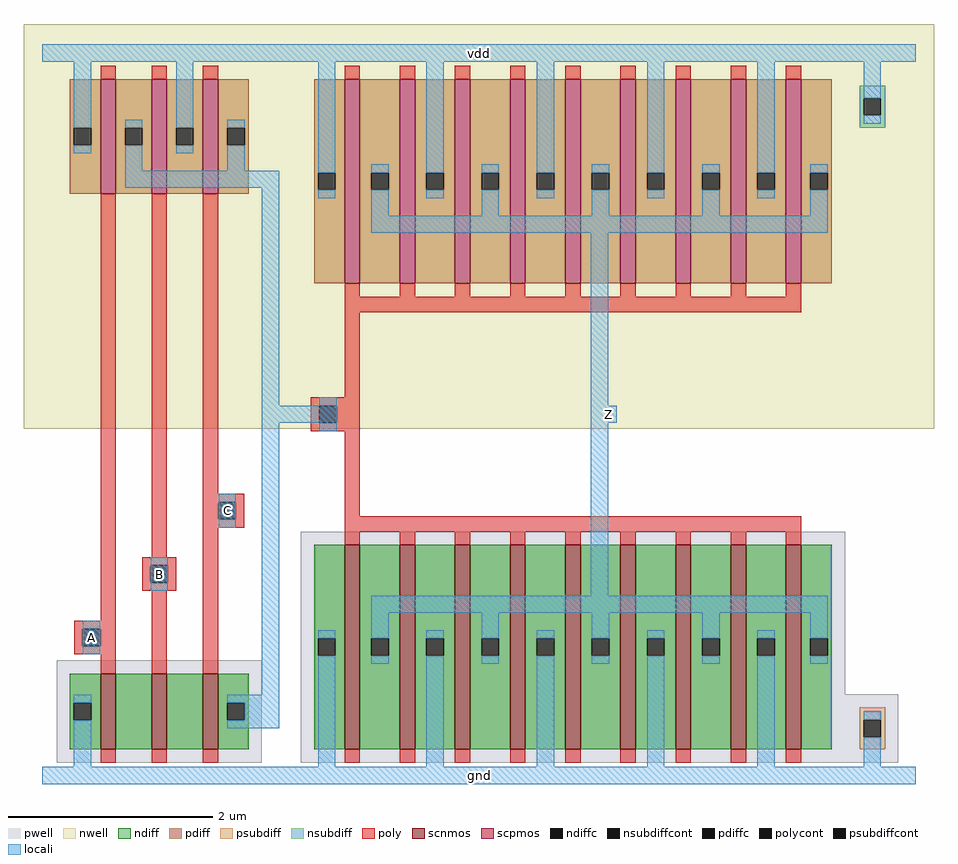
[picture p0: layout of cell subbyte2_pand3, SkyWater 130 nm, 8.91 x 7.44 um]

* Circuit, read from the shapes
.subckt subbyte2_pand3 Z A B C gnd vdd
XM1 n1 A gnd gnd sky130_fd_pr__nfet_01v8 w=0.74 l=0.15
XM2 n2 B n1 gnd sky130_fd_pr__nfet_01v8 w=0.74 l=0.15
XM3 subbyte2_pdriver_3_0/A C n2 gnd sky130_fd_pr__nfet_01v8 w=0.74 l=0.15
XM4 Z subbyte2_pdriver_3_0/A gnd gnd sky130_fd_pr__nfet_01v8 w=2 l=0.15 m=9
XM5 subbyte2_pdriver_3_0/A A vdd vdd sky130_fd_pr__pfet_01v8 w=1.12 l=0.15
XM6 vdd B subbyte2_pdriver_3_0/A vdd sky130_fd_pr__pfet_01v8 w=1.12 l=0.15
XM7 subbyte2_pdriver_3_0/A C vdd vdd sky130_fd_pr__pfet_01v8 w=1.12 l=0.15
XM8 Z subbyte2_pdriver_3_0/A vdd vdd sky130_fd_pr__pfet_01v8 w=2 l=0.15 m=9
.ends

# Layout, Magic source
magic
tech sky130A
magscale 1 2
<< locali >>
rect 0 1397 1710 1431
rect 430 724 464 1167
rect 430 690 559 724
rect 1091 690 1125 724
rect 345 485 379 551
rect 212 361 246 427
rect 79 237 113 303
rect 0 -17 1710 17
use subbyte2_pdriver_3  subbyte2_pdriver_3_0
transform 1 0 478 0 1 0
box -36 -17 1268 1471
use subbyte2_pnand3  subbyte2_pnand3_0
transform 1 0 0 0 1 0
box -36 -17 514 1471
<< labels >>
rlabel locali s 1108 707 1108 707 4 Z
port 1 nsew
rlabel locali s 96 270 96 270 4 A
port 2 nsew
rlabel locali s 229 394 229 394 4 B
port 3 nsew
rlabel locali s 362 518 362 518 4 C
port 4 nsew
rlabel locali s 855 0 855 0 4 gnd
port 5 nsew
rlabel locali s 855 1414 855 1414 4 vdd
port 6 nsew
<< properties >>
string FIXED_BBOX 0 0 1710 1414
<< end >>

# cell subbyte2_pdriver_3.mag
magic
tech sky130A
magscale 1 2
<< nwell >>
rect -36 679 1268 1471
<< locali >>
rect 0 1397 1232 1431
rect 64 674 98 740
rect 613 690 647 724
rect 0 -17 1232 17
use subbyte2_pinv_11  subbyte2_pinv_11_0
transform 1 0 0 0 1 0
box -36 -17 1268 1471
<< labels >>
rlabel locali s 630 707 630 707 4 Z
port 1 nsew
rlabel locali s 81 707 81 707 4 A
port 2 nsew
rlabel locali s 616 0 616 0 4 gnd
port 3 nsew
rlabel locali s 616 1414 616 1414 4 vdd
port 4 nsew
<< properties >>
string FIXED_BBOX 0 0 1232 1414
<< end >>

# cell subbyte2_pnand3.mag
magic
tech sky130A
magscale 1 2
<< nwell >>
rect -36 679 514 1471
<< pwell >>
rect 28 25 430 225
<< scnmos >>
rect 114 51 144 199
rect 214 51 244 199
rect 314 51 344 199
<< scpmos >>
rect 114 1139 144 1363
rect 214 1139 244 1363
rect 314 1139 344 1363
<< ndiff >>
rect 54 142 114 199
rect 54 108 62 142
rect 96 108 114 142
rect 54 51 114 108
rect 144 51 214 199
rect 244 51 314 199
rect 344 142 404 199
rect 344 108 362 142
rect 396 108 404 142
rect 344 51 404 108
<< pdiff >>
rect 54 1268 114 1363
rect 54 1234 62 1268
rect 96 1234 114 1268
rect 54 1139 114 1234
rect 144 1268 214 1363
rect 144 1234 162 1268
rect 196 1234 214 1268
rect 144 1139 214 1234
rect 244 1268 314 1363
rect 244 1234 262 1268
rect 296 1234 314 1268
rect 244 1139 314 1234
rect 344 1268 404 1363
rect 344 1234 362 1268
rect 396 1234 404 1268
rect 344 1139 404 1234
<< ndiffc >>
rect 62 108 96 142
rect 362 108 396 142
<< pdiffc >>
rect 62 1234 96 1268
rect 162 1234 196 1268
rect 262 1234 296 1268
rect 362 1234 396 1268
<< poly >>
rect 114 1363 144 1389
rect 214 1363 244 1389
rect 314 1363 344 1389
rect 114 303 144 1139
rect 214 427 244 1139
rect 314 551 344 1139
rect 314 535 395 551
rect 314 501 345 535
rect 379 501 395 535
rect 314 485 395 501
rect 196 411 262 427
rect 196 377 212 411
rect 246 377 262 411
rect 196 361 262 377
rect 63 287 144 303
rect 63 253 79 287
rect 113 253 144 287
rect 63 237 144 253
rect 114 199 144 237
rect 214 199 244 361
rect 314 199 344 485
rect 114 25 144 51
rect 214 25 244 51
rect 314 25 344 51
<< polycont >>
rect 345 501 379 535
rect 212 377 246 411
rect 79 253 113 287
<< locali >>
rect 0 1397 478 1431
rect 62 1268 96 1397
rect 62 1218 96 1234
rect 162 1268 196 1284
rect 162 1184 196 1234
rect 262 1268 296 1397
rect 262 1218 296 1234
rect 362 1268 396 1284
rect 362 1184 396 1234
rect 162 1150 464 1184
rect 345 535 379 551
rect 345 485 379 501
rect 212 411 246 427
rect 212 361 246 377
rect 79 287 113 303
rect 79 237 113 253
rect 430 158 464 1150
rect 62 142 96 158
rect 62 17 96 108
rect 362 142 464 158
rect 396 108 464 142
rect 362 92 464 108
rect 0 -17 478 17
<< labels >>
rlabel locali s 96 270 96 270 4 A
port 1 nsew
rlabel locali s 229 394 229 394 4 B
port 2 nsew
rlabel locali s 362 518 362 518 4 C
port 3 nsew
rlabel locali s 447 1167 447 1167 4 Z
port 4 nsew
rlabel locali s 239 0 239 0 4 gnd
port 5 nsew
rlabel locali s 239 1414 239 1414 4 vdd
port 6 nsew
<< properties >>
string FIXED_BBOX 0 0 478 1167
<< end >>

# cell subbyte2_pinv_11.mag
magic
tech sky130A
magscale 1 2
<< nwell >>
rect -36 679 1268 1471
<< pwell >>
rect 28 159 1094 477
rect 28 25 1198 159
<< scnmos >>
rect 114 51 144 451
rect 222 51 252 451
rect 330 51 360 451
rect 438 51 468 451
rect 546 51 576 451
rect 654 51 684 451
rect 762 51 792 451
rect 870 51 900 451
rect 978 51 1008 451
<< scpmos >>
rect 114 963 144 1363
rect 222 963 252 1363
rect 330 963 360 1363
rect 438 963 468 1363
rect 546 963 576 1363
rect 654 963 684 1363
rect 762 963 792 1363
rect 870 963 900 1363
rect 978 963 1008 1363
<< ndiff >>
rect 54 268 114 451
rect 54 234 62 268
rect 96 234 114 268
rect 54 51 114 234
rect 144 268 222 451
rect 144 234 166 268
rect 200 234 222 268
rect 144 51 222 234
rect 252 268 330 451
rect 252 234 274 268
rect 308 234 330 268
rect 252 51 330 234
rect 360 268 438 451
rect 360 234 382 268
rect 416 234 438 268
rect 360 51 438 234
rect 468 268 546 451
rect 468 234 490 268
rect 524 234 546 268
rect 468 51 546 234
rect 576 268 654 451
rect 576 234 598 268
rect 632 234 654 268
rect 576 51 654 234
rect 684 268 762 451
rect 684 234 706 268
rect 740 234 762 268
rect 684 51 762 234
rect 792 268 870 451
rect 792 234 814 268
rect 848 234 870 268
rect 792 51 870 234
rect 900 268 978 451
rect 900 234 922 268
rect 956 234 978 268
rect 900 51 978 234
rect 1008 268 1068 451
rect 1008 234 1026 268
rect 1060 234 1068 268
rect 1008 51 1068 234
<< pdiff >>
rect 54 1180 114 1363
rect 54 1146 62 1180
rect 96 1146 114 1180
rect 54 963 114 1146
rect 144 1180 222 1363
rect 144 1146 166 1180
rect 200 1146 222 1180
rect 144 963 222 1146
rect 252 1180 330 1363
rect 252 1146 274 1180
rect 308 1146 330 1180
rect 252 963 330 1146
rect 360 1180 438 1363
rect 360 1146 382 1180
rect 416 1146 438 1180
rect 360 963 438 1146
rect 468 1180 546 1363
rect 468 1146 490 1180
rect 524 1146 546 1180
rect 468 963 546 1146
rect 576 1180 654 1363
rect 576 1146 598 1180
rect 632 1146 654 1180
rect 576 963 654 1146
rect 684 1180 762 1363
rect 684 1146 706 1180
rect 740 1146 762 1180
rect 684 963 762 1146
rect 792 1180 870 1363
rect 792 1146 814 1180
rect 848 1146 870 1180
rect 792 963 870 1146
rect 900 1180 978 1363
rect 900 1146 922 1180
rect 956 1146 978 1180
rect 900 963 978 1146
rect 1008 1180 1068 1363
rect 1008 1146 1026 1180
rect 1060 1146 1068 1180
rect 1008 963 1068 1146
<< ndiffc >>
rect 62 234 96 268
rect 166 234 200 268
rect 274 234 308 268
rect 382 234 416 268
rect 490 234 524 268
rect 598 234 632 268
rect 706 234 740 268
rect 814 234 848 268
rect 922 234 956 268
rect 1026 234 1060 268
<< pdiffc >>
rect 62 1146 96 1180
rect 166 1146 200 1180
rect 274 1146 308 1180
rect 382 1146 416 1180
rect 490 1146 524 1180
rect 598 1146 632 1180
rect 706 1146 740 1180
rect 814 1146 848 1180
rect 922 1146 956 1180
rect 1026 1146 1060 1180
<< psubdiff >>
rect 1122 109 1172 133
rect 1122 75 1130 109
rect 1164 75 1172 109
rect 1122 51 1172 75
<< nsubdiff >>
rect 1122 1326 1172 1350
rect 1122 1292 1130 1326
rect 1164 1292 1172 1326
rect 1122 1268 1172 1292
<< psubdiffcont >>
rect 1130 75 1164 109
<< nsubdiffcont >>
rect 1130 1292 1164 1326
<< poly >>
rect 114 1363 144 1389
rect 222 1363 252 1389
rect 330 1363 360 1389
rect 438 1363 468 1389
rect 546 1363 576 1389
rect 654 1363 684 1389
rect 762 1363 792 1389
rect 870 1363 900 1389
rect 978 1363 1008 1389
rect 114 937 144 963
rect 222 937 252 963
rect 330 937 360 963
rect 438 937 468 963
rect 546 937 576 963
rect 654 937 684 963
rect 762 937 792 963
rect 870 937 900 963
rect 978 937 1008 963
rect 114 907 1008 937
rect 114 740 144 907
rect 48 724 144 740
rect 48 690 64 724
rect 98 690 144 724
rect 48 674 144 690
rect 114 507 144 674
rect 114 477 1008 507
rect 114 451 144 477
rect 222 451 252 477
rect 330 451 360 477
rect 438 451 468 477
rect 546 451 576 477
rect 654 451 684 477
rect 762 451 792 477
rect 870 451 900 477
rect 978 451 1008 477
rect 114 25 144 51
rect 222 25 252 51
rect 330 25 360 51
rect 438 25 468 51
rect 546 25 576 51
rect 654 25 684 51
rect 762 25 792 51
rect 870 25 900 51
rect 978 25 1008 51
<< polycont >>
rect 64 690 98 724
<< locali >>
rect 0 1397 1232 1431
rect 62 1180 96 1397
rect 62 1130 96 1146
rect 166 1180 200 1196
rect 166 1096 200 1146
rect 274 1180 308 1397
rect 274 1130 308 1146
rect 382 1180 416 1196
rect 382 1096 416 1146
rect 490 1180 524 1397
rect 490 1130 524 1146
rect 598 1180 632 1196
rect 598 1096 632 1146
rect 706 1180 740 1397
rect 706 1130 740 1146
rect 814 1180 848 1196
rect 814 1096 848 1146
rect 922 1180 956 1397
rect 1130 1326 1164 1397
rect 1130 1276 1164 1292
rect 922 1130 956 1146
rect 1026 1180 1060 1196
rect 1026 1096 1060 1146
rect 166 1062 1060 1096
rect 64 724 98 740
rect 64 674 98 690
rect 596 724 630 1062
rect 596 690 647 724
rect 596 352 630 690
rect 166 318 1060 352
rect 62 268 96 284
rect 62 17 96 234
rect 166 268 200 318
rect 166 218 200 234
rect 274 268 308 284
rect 274 17 308 234
rect 382 268 416 318
rect 382 218 416 234
rect 490 268 524 284
rect 490 17 524 234
rect 598 268 632 318
rect 598 218 632 234
rect 706 268 740 284
rect 706 17 740 234
rect 814 268 848 318
rect 814 218 848 234
rect 922 268 956 284
rect 922 17 956 234
rect 1026 268 1060 318
rect 1026 218 1060 234
rect 1130 109 1164 125
rect 1130 17 1164 75
rect 0 -17 1232 17
<< labels >>
rlabel locali s 81 707 81 707 4 A
port 1 nsew
rlabel locali s 630 707 630 707 4 Z
port 2 nsew
rlabel locali s 616 0 616 0 4 gnd
port 3 nsew
rlabel locali s 616 1414 616 1414 4 vdd
port 4 nsew
<< properties >>
string FIXED_BBOX 0 0 1232 1079
<< end >>
